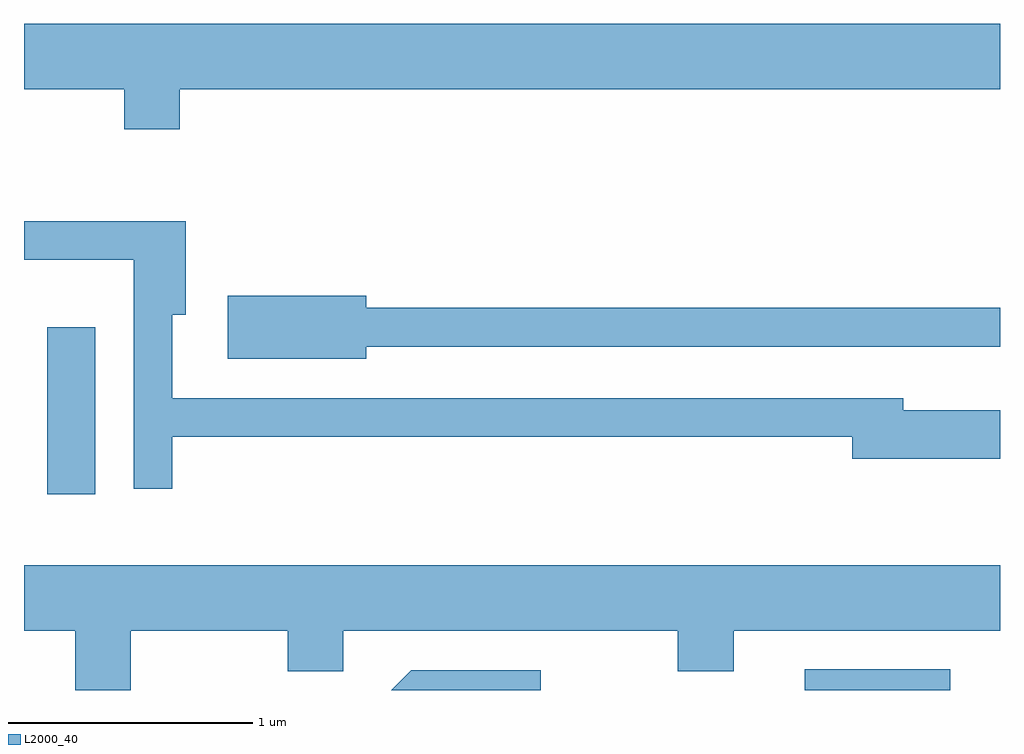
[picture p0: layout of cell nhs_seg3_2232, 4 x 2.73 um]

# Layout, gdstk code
import gdstk
lib = gdstk.Library(unit=1e-6, precision=1e-09)
def R(c, l, rs):  # rectangles x0, y0, x1, y1
    for r in rs: c.add(gdstk.rectangle(r[:2], r[2:], *l))
def P(c, l, *ps):  # polygons
    for p in ps: c.add(gdstk.Polygon(p, *l))
L2000_40 = (2000, 40)

nhs_seg3_2232 = lib.new_cell('nhs_seg3_2232')
R(nhs_seg3_2232, L2000_40, [(252.811,1227.892,253.408,1227.979), (249.706,1228.696,249.904,1229.379)])
P(nhs_seg3_2232, L2000_40, [(250.249,1230.356),(253.611,1230.356),(253.611,1230.624),(249.611,1230.624),(249.611,1230.356),(250.021,1230.356),(250.021,1230.191),(250.249,1230.191)],
  [(250.219,1228.931),(253.006,1228.931),(253.006,1228.841),(253.611,1228.841),(253.611,1229.039),(253.214,1229.039),(253.214,1229.089),(250.219,1229.089),(250.219,1229.431),(250.274,1229.431),(250.274,1229.814),(249.611,1229.814),(249.611,1229.656),(250.061,1229.656),(250.061,1228.718),(250.219,1228.718)],
  [(251.014,1229.301),(253.611,1229.301),(253.611,1229.459),(251.014,1229.459),(251.014,1229.509),(250.446,1229.509),(250.446,1229.251),(251.014,1229.251)],
  [(250.049,1228.136),(250.691,1228.136),(250.691,1227.971),(250.919,1227.971),(250.919,1228.136),(252.291,1228.136),(252.291,1227.971),(252.519,1227.971),(252.519,1228.136),(253.611,1228.136),(253.611,1228.404),(249.611,1228.404),(249.611,1228.136),(249.821,1228.136),(249.821,1227.892),(250.049,1227.892)],
  [(251.728,1227.974),(251.199,1227.974),(251.117,1227.892),(251.728,1227.892)])

lib.write_gds('nhs_seg3_2232.gds')
